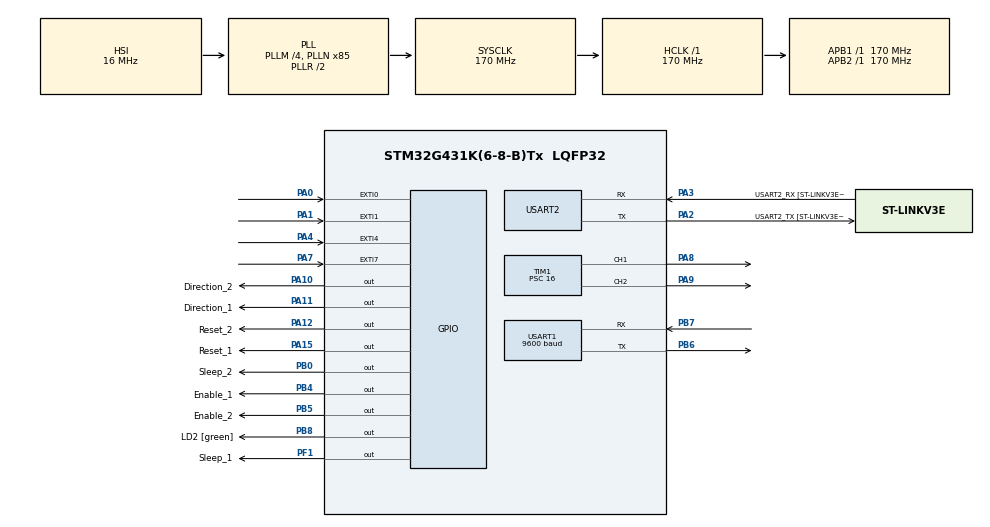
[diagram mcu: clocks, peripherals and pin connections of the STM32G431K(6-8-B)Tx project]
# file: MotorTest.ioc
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Dma.Request0=USART2_RX
Dma.Request1=USART1_RX
Dma.USART1_RX.1.Direction=DMA_PERIPH_TO_MEMORY
Dma.USART1_RX.1.EventEnable=DISABLE
Dma.USART1_RX.1.Instance=DMA1_Channel2
Dma.USART1_RX.1.MemDataAlignment=DMA_MDATAALIGN_BYTE
Dma.USART1_RX.1.MemInc=DMA_MINC_ENABLE
Dma.USART1_RX.1.Mode=DMA_NORMAL
Dma.USART1_RX.1.PeriphDataAlignment=DMA_PDATAALIGN_BYTE
Dma.USART1_RX.1.PeriphInc=DMA_PINC_DISABLE
Dma.USART1_RX.1.Polarity=HAL_DMAMUX_REQ_GEN_RISING
Dma.USART1_RX.1.Priority=DMA_PRIORITY_LOW
Dma.USART1_RX.1.RequestNumber=1
Dma.USART1_RX.1.SignalID=NONE
Dma.USART1_RX.1.SyncEnable=DISABLE
Dma.USART1_RX.1.SyncPolarity=HAL_DMAMUX_SYNC_NO_EVENT
Dma.USART1_RX.1.SyncRequestNumber=1
Dma.USART1_RX.1.SyncSignalID=NONE
Dma.USART2_RX.0.Direction=DMA_PERIPH_TO_MEMORY
Dma.USART2_RX.0.EventEnable=DISABLE
Dma.USART2_RX.0.Instance=DMA1_Channel1
Dma.USART2_RX.0.MemDataAlignment=DMA_MDATAALIGN_BYTE
Dma.USART2_RX.0.MemInc=DMA_MINC_ENABLE
Dma.USART2_RX.0.Mode=DMA_NORMAL
Dma.USART2_RX.0.PeriphDataAlignment=DMA_PDATAALIGN_BYTE
Dma.USART2_RX.0.PeriphInc=DMA_PINC_DISABLE
Dma.USART2_RX.0.Polarity=HAL_DMAMUX_REQ_GEN_RISING
Dma.USART2_RX.0.Priority=DMA_PRIORITY_LOW
Dma.USART2_RX.0.RequestNumber=1
Dma.USART2_RX.0.SignalID=NONE
Dma.USART2_RX.0.SyncEnable=DISABLE
Dma.USART2_RX.0.SyncPolarity=HAL_DMAMUX_SYNC_NO_EVENT
Dma.USART2_RX.0.SyncRequestNumber=1
Dma.USART2_RX.0.SyncSignalID=NONE
Mcu.Family=STM32G4
Mcu.Name=STM32G431K(6-8-B)Tx
Mcu.Package=LQFP32
NVIC.DMA1_Channel1_IRQn=true\:0\:0\:false\:false\:true\:false\:true\:true
NVIC.DMA1_Channel2_IRQn=true\:0\:0\:false\:false\:true\:false\:true\:true
NVIC.EXTI0_IRQn=true\:0\:0\:true\:false\:true\:true\:true\:true
NVIC.EXTI1_IRQn=true\:0\:0\:false\:false\:true\:true\:true\:true
NVIC.EXTI4_IRQn=true\:0\:0\:false\:false\:true\:true\:true\:true
NVIC.EXTI9_5_IRQn=true\:0\:0\:false\:false\:true\:true\:true\:true
NVIC.PriorityGroup=NVIC_PRIORITYGROUP_4
NVIC.TIM1_UP_TIM16_IRQn=true\:1\:0\:true\:false\:true\:true\:true\:true
NVIC.USART1_IRQn=true\:2\:0\:true\:false\:true\:true\:true\:true
NVIC.USART2_IRQn=true\:2\:0\:true\:false\:true\:true\:true\:true
PA0.GPIO_ModeDefaultEXTI=GPIO_MODE_IT_FALLING
PA0.GPIO_PuPd=GPIO_PULLUP
PA0.Signal=GPXTI0
PA1.GPIO_ModeDefaultEXTI=GPIO_MODE_IT_FALLING
PA1.GPIO_PuPd=GPIO_PULLUP
PA1.Signal=GPXTI1
PA10.GPIO_Label=Direction_2
PA10.Signal=GPIO_Output
PA11.GPIO_Label=Direction_1
PA11.Signal=GPIO_Output
PA12.GPIO_Label=Reset_2
PA12.Signal=GPIO_Output
PA13.GPIO_Label=T_SWDIO
PA13.Mode=Serial_Wire
PA13.Signal=SYS_JTMS-SWDIO
PA14.GPIO_Label=T_SWCLK
PA14.Mode=Serial_Wire
PA14.Signal=SYS_JTCK-SWCLK
PA15.GPIO_Label=Reset_1
PA15.Signal=GPIO_Output
PA2.GPIO_Label=USART2_TX [ST-LINKV3E_VCP_RX]
PA2.Mode=Asynchronous
PA2.Signal=USART2_TX
PA3.GPIO_Label=USART2_RX [ST-LINKV3E_VCP_TX]
PA3.Mode=Asynchronous
PA3.Signal=USART2_RX
PA4.GPIO_ModeDefaultEXTI=GPIO_MODE_IT_FALLING
PA4.GPIO_PuPd=GPIO_PULLUP
PA4.Signal=GPXTI4
PA7.GPIO_ModeDefaultEXTI=GPIO_MODE_IT_FALLING
PA7.GPIO_PuPd=GPIO_PULLUP
PA7.Signal=GPXTI7
PA8.Signal=S_TIM1_CH1
PA9.Signal=S_TIM1_CH2
PB0.GPIO_Label=Sleep_2
PB0.Signal=GPIO_Output
PB4.GPIO_Label=Enable_1
PB4.Signal=GPIO_Output
PB5.GPIO_Label=Enable_2
PB5.Signal=GPIO_Output
PB6.Mode=Asynchronous
PB6.Signal=USART1_TX
PB7.Mode=Asynchronous
PB7.Signal=USART1_RX
PB8-BOOT0.GPIO_Label=LD2 [green]
PB8-BOOT0.Signal=GPIO_Output
PF1-OSC_OUT.GPIO_Label=Sleep_1
PF1-OSC_OUT.Signal=GPIO_Output
ProjectManager.HeapSize=0x200
ProjectManager.StackSize=0x400
ProjectManager.TargetToolchain=MDK-ARM V5.32
RCC.ADC12Freq_Value=170000000
RCC.AHBFreq_Value=170000000
RCC.APB1Freq_Value=170000000
RCC.APB1TimFreq_Value=170000000
RCC.APB2Freq_Value=170000000
RCC.APB2TimFreq_Value=170000000
RCC.CortexFreq_Value=170000000
RCC.EXTERNAL_CLOCK_VALUE=12288000
RCC.HCLKFreq_Value=170000000
RCC.HSE_VALUE=8000000
RCC.HSI48_VALUE=48000000
RCC.HSI_VALUE=16000000
RCC.LSE_VALUE=32768
RCC.PLLM=RCC_PLLM_DIV4
RCC.PLLN=85
RCC.SYSCLKFreq_VALUE=170000000
RCC.SYSCLKSource=RCC_SYSCLKSOURCE_PLLCLK
RCC.USBFreq_Value=170000000
RCC.VCOOutputFreq_Value=340000000
SH.S_TIM1_CH1.0=TIM1_CH1,PWM Generation1 CH1
SH.S_TIM1_CH2.0=TIM1_CH2,PWM Generation2 CH2
TIM1.Channel-PWM\ Generation1\ CH1=TIM_CHANNEL_1
TIM1.Channel-PWM\ Generation2\ CH2=TIM_CHANNEL_2
TIM1.PeriodNoDither=9999
TIM1.Prescaler=16
USART1.BaudRate=9600
USART1.VirtualMode-Asynchronous=VM_ASYNC
USART2.VirtualMode-Asynchronous=VM_ASYNC
USART2.WordLength=WORDLENGTH_8B
VP_SYS_VS_DBSignals.Mode=DisableDeadBatterySignals
board=NUCLEO-G431KB

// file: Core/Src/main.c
/* USER CODE BEGIN Header */
/**
  ******************************************************************************
  * @file           : main.c
  * @brief          : Main program body
  ******************************************************************************
  * @attention
  *
  * Copyright (c) 2023 STMicroelectronics.
  * All rights reserved.
  *
  * This software is licensed under terms that can be found in the LICENSE file
  * in the root directory of this software component.
  * If no LICENSE file comes with this software, it is provided AS-IS.
  *
  ******************************************************************************
  */
/* USER CODE END Header */
#include "main.h"

 TIM_HandleTypeDef htim1;

UART_HandleTypeDef huart1;
UART_HandleTypeDef huart2;
DMA_HandleTypeDef hdma_usart1_rx;
DMA_HandleTypeDef hdma_usart2_rx;

/* USER CODE BEGIN PV */
extern void go_near_zero(void);

typedef enum{
	none = 0,
	north,
	south,
	east,
	west,
	northwest,
	southwest,
	southeast,
	northeast
}movement_direction;

movement_direction canopy_dir=north;
uint16_t canopy_step=0;

uint8_t north_initialized = 0;
uint8_t south_initialized = 0;
uint8_t west_initialized = 0;
uint8_t east_initialized = 0;

uint8_t north_allowed = 1;
uint8_t south_allowed = 1;
uint8_t west_allowed = 1;
uint8_t east_allowed = 1;

uint16_t NS_len = 0;
uint16_t EW_len = 0;

uint8_t go_zero = 0;
/* USER CODE END PV */

void SystemClock_Config(void);
static void MX_GPIO_Init(void);
static void MX_TIM1_Init(void);
static void MX_DMA_Init(void);
static void MX_USART2_UART_Init(void);
static void MX_USART1_UART_Init(void);

/* USER CODE BEGIN 0 */
uint8_t direction_1=0;
uint8_t direction_2=0;

extern uint16_t step_1;
extern uint16_t step_2;

int16_t abs_pos_fb = 1000;
int16_t abs_pos_lr = 700;

uint8_t RXbuf[100] = {0};
uint8_t UART2_rxBuffer[10] ={0};
char data[13] = "Hello World!\n";
/* USER CODE END 0 */

int main(void)
{

  /* MCU Configuration--------------------------------------------------------*/

  /* Reset of all peripherals, Initializes the Flash interface and the Systick. */
  HAL_Init();

  /* Configure the system clock */
  SystemClock_Config();

  /* Initialize all configured peripherals */
  MX_GPIO_Init();
  MX_TIM1_Init();
  MX_DMA_Init();
  MX_USART2_UART_Init();
  MX_USART1_UART_Init();
  /* USER CODE BEGIN 2 */
//

	//2150 forward-backwar
	//1500 left right
	HAL_TIM_Base_Start_IT(&htim1);
	HAL_TIM_PWM_Start(&htim1,TIM_CHANNEL_1);
	HAL_TIM_PWM_Start(&htim1,TIM_CHANNEL_2);

	HAL_GPIO_WritePin(Enable_1_GPIO_Port, Enable_1_Pin, GPIO_PIN_RESET);
	HAL_GPIO_WritePin(Reset_1_GPIO_Port, Reset_1_Pin, GPIO_PIN_SET);
	HAL_GPIO_WritePin(Sleep_1_GPIO_Port, Sleep_1_Pin, GPIO_PIN_SET);

	HAL_GPIO_WritePin(Enable_2_GPIO_Port, Enable_2_Pin, GPIO_PIN_RESET);
	HAL_GPIO_WritePin(Reset_2_GPIO_Port, Reset_2_Pin, GPIO_PIN_SET);
	HAL_GPIO_WritePin(Sleep_2_GPIO_Port, Sleep_2_Pin, GPIO_PIN_SET);
	HAL_Delay(50);
	north_initialized = 0;
	south_initialized = 0;
	west_initialized = 0;
	east_initialized = 0;
	// find initial points of the system. For this purpose motor set motor speed to 100Hz.
	HAL_Delay(30);
	TIM1->PSC = 16;
	TIM1->ARR = 10000;
	canopy_dir = north;
	canopy_step = 5000;
	while(north_initialized == 0){
		if(HAL_GPIO_ReadPin(GPIOA, GPIO_PIN_0) == 0) break;
		HAL_Delay(1);
	}
	north_initialized = 1;
	HAL_Delay(30);
	canopy_dir = south;
	canopy_step = 5000;
	while(south_initialized == 0){
		HAL_Delay(1);
	}
	HAL_Delay(30);
	if(NS_len<1900 || NS_len>2300){
		NVIC_SystemReset();
	}
	TIM1->PSC = 16;
	canopy_dir = north;
	canopy_step = NS_len/2;
	HAL_Delay(10);
	while((step_1 != 0) && (step_2 != 0)){
		HAL_Delay(1);
	}
	TIM1->PSC = 16;
	canopy_dir = west;
	canopy_step = 5000;
	while(west_initialized == 0){
		if(HAL_GPIO_ReadPin(GPIOA, GPIO_PIN_4) == 0) break;
		HAL_Delay(1);
	}
	west_initialized = 1;
	HAL_Delay(30);
	canopy_dir = east;
	canopy_step = 5000;
	while(east_initialized == 0){
		HAL_Delay(1);
	}
	HAL_Delay(30);
	if(EW_len<1100 || EW_len>1700){
		NVIC_SystemReset();
	}
	TIM1->PSC = 16;
	canopy_dir = west;
	canopy_step = EW_len/2;
	//HAL_Delay(2*EW_len);
	HAL_Delay(30);
	TIM1->ARR = 8000;
////////	TIM1->PSC = 169;//now motor speed is 100hz. 30rpm
////////	canopy_dir = north;
////////	canopy_step = 5000;
////////	while(forward_initialized == 0){
////////		HAL_Delay(1);
////////	}
////////	HAL_Delay(100);
////////	TIM1->PSC = 16;
////////	canopy_dir = south;
////////	canopy_step = 1075;
////////	HAL_Delay(2000);
////////	TIM1->PSC = 169;
////////	canopy_dir = east;
////////	canopy_step = 1600;
////////	while(right_initialized == 0){
////////		HAL_Delay(1);
////////	}
////////	HAL_Delay(100);
////////	TIM1->PSC = 16;
////////	canopy_dir = west;
////////	canopy_step = 750;
////////	HAL_Delay(1000);
	abs_pos_fb = NS_len/2;
	abs_pos_lr = EW_len/2;
	__HAL_UART_ENABLE_IT(&huart1, UART_IT_IDLE);
  HAL_UART_Receive_DMA(&huart1, RXbuf, sizeof(RXbuf));
  /* USER CODE END 2 */

  /* Infinite loop */
  while (1)
  {

    /* USER CODE BEGIN 3 */
//		canopy_dir = forward;
//		canopy_step = 250;
//		HAL_Delay(500);
//		canopy_dir = backward;
//		canopy_step = 250;
//		HAL_Delay(500);
//		canopy_dir = left;
//		canopy_step = 250;
//		HAL_Delay(500);
//		canopy_dir = right;
//		canopy_step = 250;
//		HAL_Delay(500);
//		if(abs_pos_fb>2030 || abs_pos_fb<100){
//			HAL_TIM_PWM_Stop(&htim1,TIM_CHANNEL_1);
//			HAL_TIM_PWM_Stop(&htim1,TIM_CHANNEL_2);
//		}
//
//		if(abs_pos_lr>1450 || abs_pos_lr<50){
//			HAL_TIM_PWM_Stop(&htim1,TIM_CHANNEL_1);
//			HAL_TIM_PWM_Stop(&htim1,TIM_CHANNEL_2);
//		}
		//north, south, east, west
		//HAL_UART_Transmit(&huart1, (uint8_t*)data, 13,100);
		if(go_zero){
			go_zero=0;
			go_near_zero();
		}
		HAL_Delay(10);
		HAL_UART_Transmit(&huart2, (uint8_t*)data, 13,100);
//		HAL_UART_Receive (&huart2, UART2_rxBuffer, 1, 5000);
  }
  /* USER CODE END 3 */
}

void SystemClock_Config(void)
{
  RCC_OscInitTypeDef RCC_OscInitStruct = {0};
  RCC_ClkInitTypeDef RCC_ClkInitStruct = {0};

  /** Configure the main internal regulator output voltage
  */
  HAL_PWREx_ControlVoltageScaling(PWR_REGULATOR_VOLTAGE_SCALE1_BOOST);

  /** Initializes the RCC Oscillators according to the specified parameters
  * in the RCC_OscInitTypeDef structure.
  */
  RCC_OscInitStruct.OscillatorType = RCC_OSCILLATORTYPE_HSI;
  RCC_OscInitStruct.HSIState = RCC_HSI_ON;
  RCC_OscInitStruct.HSICalibrationValue = RCC_HSICALIBRATION_DEFAULT;
  RCC_OscInitStruct.PLL.PLLState = RCC_PLL_ON;
  RCC_OscInitStruct.PLL.PLLSource = RCC_PLLSOURCE_HSI;
  RCC_OscInitStruct.PLL.PLLM = RCC_PLLM_DIV4;
  RCC_OscInitStruct.PLL.PLLN = 85;
  RCC_OscInitStruct.PLL.PLLP = RCC_PLLP_DIV2;
  RCC_OscInitStruct.PLL.PLLQ = RCC_PLLQ_DIV2;
  RCC_OscInitStruct.PLL.PLLR = RCC_PLLR_DIV2;
  if (HAL_RCC_OscConfig(&RCC_OscInitStruct) != HAL_OK)
  {
    Error_Handler();
  }

  /** Initializes the CPU, AHB and APB buses clocks
  */
  RCC_ClkInitStruct.ClockType = RCC_CLOCKTYPE_HCLK|RCC_CLOCKTYPE_SYSCLK
                              |RCC_CLOCKTYPE_PCLK1|RCC_CLOCKTYPE_PCLK2;
  RCC_ClkInitStruct.SYSCLKSource = RCC_SYSCLKSOURCE_PLLCLK;
  RCC_ClkInitStruct.AHBCLKDivider = RCC_SYSCLK_DIV1;
  RCC_ClkInitStruct.APB1CLKDivider = RCC_HCLK_DIV1;
  RCC_ClkInitStruct.APB2CLKDivider = RCC_HCLK_DIV1;

  if (HAL_RCC_ClockConfig(&RCC_ClkInitStruct, FLASH_LATENCY_4) != HAL_OK)
  {
    Error_Handler();
  }
}

static void MX_TIM1_Init(void)
{

  TIM_MasterConfigTypeDef sMasterConfig = {0};
  TIM_OC_InitTypeDef sConfigOC = {0};
  TIM_BreakDeadTimeConfigTypeDef sBreakDeadTimeConfig = {0};

  htim1.Instance = TIM1;
  htim1.Init.Prescaler = 16;
  htim1.Init.CounterMode = TIM_COUNTERMODE_UP;
  htim1.Init.Period = 7999;
  htim1.Init.ClockDivision = TIM_CLOCKDIVISION_DIV1;
  htim1.Init.RepetitionCounter = 0;
  htim1.Init.AutoReloadPreload = TIM_AUTORELOAD_PRELOAD_DISABLE;
  if (HAL_TIM_PWM_Init(&htim1) != HAL_OK)
  {
    Error_Handler();
  }
  sMasterConfig.MasterOutputTrigger = TIM_TRGO_RESET;
  sMasterConfig.MasterOutputTrigger2 = TIM_TRGO2_RESET;
  sMasterConfig.MasterSlaveMode = TIM_MASTERSLAVEMODE_DISABLE;
  if (HAL_TIMEx_MasterConfigSynchronization(&htim1, &sMasterConfig) != HAL_OK)
  {
    Error_Handler();
  }
  sConfigOC.OCMode = TIM_OCMODE_PWM1;
  sConfigOC.Pulse = 0;
  sConfigOC.OCPolarity = TIM_OCPOLARITY_HIGH;
  sConfigOC.OCNPolarity = TIM_OCNPOLARITY_HIGH;
  sConfigOC.OCFastMode = TIM_OCFAST_DISABLE;
  sConfigOC.OCIdleState = TIM_OCIDLESTATE_RESET;
  sConfigOC.OCNIdleState = TIM_OCNIDLESTATE_RESET;
  if (HAL_TIM_PWM_ConfigChannel(&htim1, &sConfigOC, TIM_CHANNEL_1) != HAL_OK)
  {
    Error_Handler();
  }
  if (HAL_TIM_PWM_ConfigChannel(&htim1, &sConfigOC, TIM_CHANNEL_2) != HAL_OK)
  {
    Error_Handler();
  }
  sBreakDeadTimeConfig.OffStateRunMode = TIM_OSSR_DISABLE;
  sBreakDeadTimeConfig.OffStateIDLEMode = TIM_OSSI_DISABLE;
  sBreakDeadTimeConfig.LockLevel = TIM_LOCKLEVEL_OFF;
  sBreakDeadTimeConfig.DeadTime = 0;
  sBreakDeadTimeConfig.BreakState = TIM_BREAK_DISABLE;
  sBreakDeadTimeConfig.BreakPolarity = TIM_BREAKPOLARITY_HIGH;
  sBreakDeadTimeConfig.BreakFilter = 0;
  sBreakDeadTimeConfig.BreakAFMode = TIM_BREAK_AFMODE_INPUT;
  sBreakDeadTimeConfig.Break2State = TIM_BREAK2_DISABLE;
  sBreakDeadTimeConfig.Break2Polarity = TIM_BREAK2POLARITY_HIGH;
  sBreakDeadTimeConfig.Break2Filter = 0;
  sBreakDeadTimeConfig.Break2AFMode = TIM_BREAK_AFMODE_INPUT;
  sBreakDeadTimeConfig.AutomaticOutput = TIM_AUTOMATICOUTPUT_DISABLE;
  if (HAL_TIMEx_ConfigBreakDeadTime(&htim1, &sBreakDeadTimeConfig) != HAL_OK)
  {
    Error_Handler();
  }
  HAL_TIM_MspPostInit(&htim1);

}

static void MX_USART1_UART_Init(void)
{

  huart1.Instance = USART1;
  huart1.Init.BaudRate = 9600;
  huart1.Init.WordLength = UART_WORDLENGTH_8B;
  huart1.Init.StopBits = UART_STOPBITS_1;
  huart1.Init.Parity = UART_PARITY_NONE;
  huart1.Init.Mode = UART_MODE_TX_RX;
  huart1.Init.HwFlowCtl = UART_HWCONTROL_NONE;
  huart1.Init.OverSampling = UART_OVERSAMPLING_16;
  huart1.Init.OneBitSampling = UART_ONE_BIT_SAMPLE_DISABLE;
  huart1.Init.ClockPrescaler = UART_PRESCALER_DIV1;
  huart1.AdvancedInit.AdvFeatureInit = UART_ADVFEATURE_NO_INIT;
  if (HAL_UART_Init(&huart1) != HAL_OK)
  {
    Error_Handler();
  }
  if (HAL_UARTEx_SetTxFifoThreshold(&huart1, UART_TXFIFO_THRESHOLD_1_8) != HAL_OK)
  {
    Error_Handler();
  }
  if (HAL_UARTEx_SetRxFifoThreshold(&huart1, UART_RXFIFO_THRESHOLD_1_8) != HAL_OK)
  {
    Error_Handler();
  }
  if (HAL_UARTEx_DisableFifoMode(&huart1) != HAL_OK)
  {
    Error_Handler();
  }

}

static void MX_USART2_UART_Init(void)
{

  huart2.Instance = USART2;
  huart2.Init.BaudRate = 115200;
  huart2.Init.WordLength = UART_WORDLENGTH_8B;
  huart2.Init.StopBits = UART_STOPBITS_1;
  huart2.Init.Parity = UART_PARITY_NONE;
  huart2.Init.Mode = UART_MODE_TX_RX;
  huart2.Init.HwFlowCtl = UART_HWCONTROL_NONE;
  huart2.Init.OverSampling = UART_OVERSAMPLING_16;
  huart2.Init.OneBitSampling = UART_ONE_BIT_SAMPLE_DISABLE;
  huart2.Init.ClockPrescaler = UART_PRESCALER_DIV1;
  huart2.AdvancedInit.AdvFeatureInit = UART_ADVFEATURE_NO_INIT;
  if (HAL_UART_Init(&huart2) != HAL_OK)
  {
    Error_Handler();
  }
  if (HAL_UARTEx_SetTxFifoThreshold(&huart2, UART_TXFIFO_THRESHOLD_1_8) != HAL_OK)
  {
    Error_Handler();
  }
  if (HAL_UARTEx_SetRxFifoThreshold(&huart2, UART_RXFIFO_THRESHOLD_1_8) != HAL_OK)
  {
    Error_Handler();
  }
  if (HAL_UARTEx_DisableFifoMode(&huart2) != HAL_OK)
  {
    Error_Handler();
  }

}

static void MX_DMA_Init(void)
{

  /* DMA controller clock enable */
  __HAL_RCC_DMAMUX1_CLK_ENABLE();
  __HAL_RCC_DMA1_CLK_ENABLE();

  /* DMA interrupt init */
  /* DMA1_Channel1_IRQn interrupt configuration */
  HAL_NVIC_SetPriority(DMA1_Channel1_IRQn, 0, 0);
  HAL_NVIC_EnableIRQ(DMA1_Channel1_IRQn);
  /* DMA1_Channel2_IRQn interrupt configuration */
  HAL_NVIC_SetPriority(DMA1_Channel2_IRQn, 0, 0);
  HAL_NVIC_EnableIRQ(DMA1_Channel2_IRQn);

}

static void MX_GPIO_Init(void)
{
  GPIO_InitTypeDef GPIO_InitStruct = {0};

  /* GPIO Ports Clock Enable */
  __HAL_RCC_GPIOF_CLK_ENABLE();
  __HAL_RCC_GPIOA_CLK_ENABLE();
  __HAL_RCC_GPIOB_CLK_ENABLE();

  /*Configure GPIO pin Output Level */
  HAL_GPIO_WritePin(Sleep_1_GPIO_Port, Sleep_1_Pin, GPIO_PIN_RESET);

  /*Configure GPIO pin Output Level */
  HAL_GPIO_WritePin(GPIOB, Sleep_2_Pin|Enable_1_Pin|Enable_2_Pin|LD2_Pin, GPIO_PIN_RESET);

  /*Configure GPIO pin Output Level */
  HAL_GPIO_WritePin(GPIOA, Direction_2_Pin|Direction_1_Pin|Reset_2_Pin|Reset_1_Pin, GPIO_PIN_RESET);

  /*Configure GPIO pin : Sleep_1_Pin */
  GPIO_InitStruct.Pin = Sleep_1_Pin;
  GPIO_InitStruct.Mode = GPIO_MODE_OUTPUT_PP;
  GPIO_InitStruct.Pull = GPIO_NOPULL;
  GPIO_InitStruct.Speed = GPIO_SPEED_FREQ_LOW;
  HAL_GPIO_Init(Sleep_1_GPIO_Port, &GPIO_InitStruct);

  /*Configure GPIO pins : PA0 PA1 PA4 PA7 */
  GPIO_InitStruct.Pin = GPIO_PIN_0|GPIO_PIN_1|GPIO_PIN_4|GPIO_PIN_7;
  GPIO_InitStruct.Mode = GPIO_MODE_IT_FALLING;
  GPIO_InitStruct.Pull = GPIO_PULLUP;
  HAL_GPIO_Init(GPIOA, &GPIO_InitStruct);

  /*Configure GPIO pins : Sleep_2_Pin Enable_1_Pin Enable_2_Pin LD2_Pin */
  GPIO_InitStruct.Pin = Sleep_2_Pin|Enable_1_Pin|Enable_2_Pin|LD2_Pin;
  GPIO_InitStruct.Mode = GPIO_MODE_OUTPUT_PP;
  GPIO_InitStruct.Pull = GPIO_NOPULL;
  GPIO_InitStruct.Speed = GPIO_SPEED_FREQ_LOW;
  HAL_GPIO_Init(GPIOB, &GPIO_InitStruct);

  /*Configure GPIO pins : Direction_2_Pin Direction_1_Pin Reset_2_Pin Reset_1_Pin */
  GPIO_InitStruct.Pin = Direction_2_Pin|Direction_1_Pin|Reset_2_Pin|Reset_1_Pin;
  GPIO_InitStruct.Mode = GPIO_MODE_OUTPUT_PP;
  GPIO_InitStruct.Pull = GPIO_NOPULL;
  GPIO_InitStruct.Speed = GPIO_SPEED_FREQ_LOW;
  HAL_GPIO_Init(GPIOA, &GPIO_InitStruct);

  /* EXTI interrupt init*/
  HAL_NVIC_SetPriority(EXTI0_IRQn, 0, 0);
  HAL_NVIC_EnableIRQ(EXTI0_IRQn);

  HAL_NVIC_SetPriority(EXTI1_IRQn, 0, 0);
  HAL_NVIC_EnableIRQ(EXTI1_IRQn);

  HAL_NVIC_SetPriority(EXTI4_IRQn, 0, 0);
  HAL_NVIC_EnableIRQ(EXTI4_IRQn);

  HAL_NVIC_SetPriority(EXTI9_5_IRQn, 0, 0);
  HAL_NVIC_EnableIRQ(EXTI9_5_IRQn);

}

void Error_Handler(void)
{
  __disable_irq();
  while (1)
  {
  }
}
